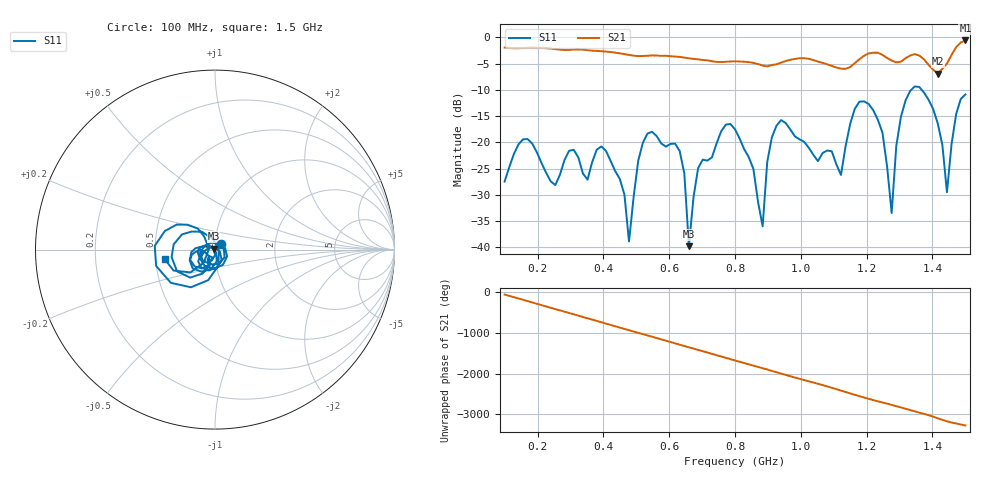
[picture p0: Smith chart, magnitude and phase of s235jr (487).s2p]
! NanoVNA-App
! Date: 2025-09-25 15:07:57
! Start: 100MHz Stop: 1,5GHz Points: 101
! S-Parameter data: F S11 S21 S12 S22
# Hz S RI R 50
!  Frequency  S11_Real  S11_Imag  S21_Real  S21_Imag  S12_Real  S12_Imag  S22_Real  S22_Imag
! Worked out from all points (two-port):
!   101 points, 100 MHz to 1.5 GHz, reference 50 ohm
!   highest |S21| = -0.61 dB at 1.5 GHz (marker M1); lowest = -6.9 dB at 1.416 GHz (marker M2)
!   |S21| within 3 dB of the highest: start of sweep to 603.4 MHz; 1.19 GHz to 1.254 GHz (63.78 MHz wide, 5.22 % of centre) (the widest 2 of 4)
!   lowest |S11| = -39.8 dB at 660 MHz (marker M3), VSWR 1.02, Z = 49.2 + j0.595 ohm
!   |S11| at or under -10 dB: start of sweep to 1.336 GHz; 1.367 GHz to end of sweep
!   S12 and S22 are empty: the file has one direction only
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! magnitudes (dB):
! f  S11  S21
! 100 MHz  -27.5  -2.0
! 156 MHz  -19.4  -2.0
! 338 MHz  -25.9  -2.4
! 408 MHz  -21.6  -2.7
! 478 MHz  -38.9  -3.4
! 520 MHz  -20.1  -3.6
! 576 MHz  -20.2  -3.5
! 632 MHz  -21.7  -3.7
! 660 MHz  -39.8  -4.0
! 688 MHz  -24.9  -4.2
! 800 MHz  -17.5  -4.6
! 884 MHz  -36.0  -5.4
! 926 MHz  -16.8  -5.2
! 1.038 GHz  -22.4  -4.3
! 1.122 GHz  -26.2  -6.0
! 1.206 GHz  -12.7  -3.1
! 1.248 GHz  -18.2  -3.4
! 1.276 GHz  -33.5  -4.4
! 1.332 GHz  -10.2  -3.5
! 1.416 GHz  -16.4  -6.9
! 1.444 GHz  -29.5  -5.0
! 1.5 GHz  -10.9  -0.6
